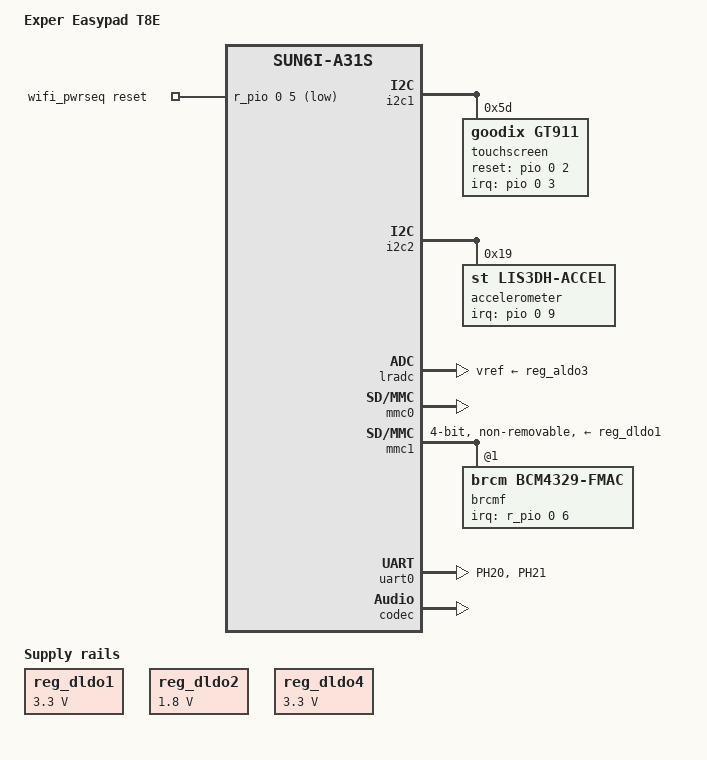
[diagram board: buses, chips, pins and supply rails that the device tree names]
// SPDX-License-Identifier: GPL-2.0+ OR X11
/*
 * Copyright 2026 mechres
 * Device Tree for Exper Easypad 8 (Model T8E)
 * Allwinner A31s quad-core tablet
 */

/dts-v1/;
#include "sun6i-a31s.dtsi"
#include "sun6i-reference-design-tablet.dtsi"

/ {
	model = "Exper Easypad T8E";
	compatible = "exper,easypad-t8e", "allwinner,sun6i-a31s";

	aliases {
		mmc0 = &mmc0;
		mmc1 = &mmc1;
	};

	wifi_pwrseq: pwrseq {
		compatible = "mmc-pwrseq-simple";
		/* Allwinner A31s GPL bank base is 181: FEX gpio 186 = 186 - 181 = PL5 */
		reset-gpios = <&r_pio 0 5 GPIO_ACTIVE_LOW>;
		clocks = <&rtc 1>; /* CLK_OSC32K_FANOUT */
		clock-names = "ext_clock";
		post-power-on-delay-ms = <200>;
	};
};

/* PH21 (UART0 RX) is floating — adapter only has RX<->TX
 * and GND connected; crosstalk from TX signal generates ghost DR bit.
 * Adding pull-up to RX pin. */
&pio {
	uart0_ph_pins_pu: uart0-ph-pins-pu {
		pins = "PH20", "PH21";
		function = "uart0";
		bias-pull-up;
	};
};

/* Prevent cpufreq-dt from binding and crashing with nosmp */
&cpu0 {
	/delete-property/ cpu-supply;
	/delete-property/ operating-points;
};

/* AXP221 PMIC is connected via P2WI at 0x68 with NMI interrupt. */
&battery_power_supply {
	status = "okay";
};

&usb_power_supply {
	status = "okay";
};

&ac_power_supply {
	status = "okay";
};

&i2c1 {
	status = "okay";

	touchscreen@5d {
		compatible = "goodix,gt911";
		reg = <0x5d>;
		interrupt-parent = <&pio>;
		interrupts = <0 3 IRQ_TYPE_LEVEL_HIGH>; /* PA3 */
		reset-gpios = <&pio 0 2 GPIO_ACTIVE_HIGH>; /* PA2 */
		touchscreen-swapped-x-y;
	};
};

&i2c2 {
	status = "okay";

	accelerometer@19 {
		compatible = "st,lis3dh-accel";
		reg = <0x19>;
		interrupt-parent = <&pio>;
		interrupts = <0 9 IRQ_TYPE_EDGE_RISING>; /* PA9 */
	};
};

&lradc {
	vref-supply = <&reg_aldo3>;
	status = "okay";

	button-1000 {
		label = "Home";
		linux,code = <KEY_HOMEPAGE>;
		channel = <0>;
		voltage = <1000000>;
	};
};

/* MicroSD slot (MMC0) on PF0-PF5 */
&mmc0 {
	/delete-property/ vmmc-supply;
	/delete-property/ cd-gpios;
	broken-cd;
	status = "okay";
};

/* SDIO WiFi (MMC1) on PG0-PG5 */
&mmc1 {
	vmmc-supply = <&reg_dldo1>;
	mmc-pwrseq = <&wifi_pwrseq>;
	bus-width = <4>;
	non-removable;
	status = "okay";

	brcmf: wifi@1 {
		reg = <1>;
		compatible = "brcm,bcm4329-fmac";
		interrupt-parent = <&r_pio>;
		/* FEX gpio 187 = 187 - 181 = PL6 */
		interrupts = <0 6 IRQ_TYPE_LEVEL_LOW>;
		interrupt-names = "host-wake";
	};
};

&reg_dldo1 {
	regulator-min-microvolt = <3300000>;
	regulator-max-microvolt = <3300000>;
	regulator-name = "vcc-wifi";
	regulator-always-on;
};

&reg_dldo2 {
	regulator-min-microvolt = <1800000>;
	regulator-max-microvolt = <1800000>;
	regulator-name = "vcc-pg";
	regulator-always-on;
};

&reg_dldo4 {
	regulator-min-microvolt = <3300000>;
	regulator-max-microvolt = <3300000>;
	regulator-name = "vcc-wifi-clk";
	regulator-always-on;
};

&reg_dc1sw {
	regulator-always-on;
};

&usbphy {
	/delete-property/ usb0_vbus_power-supply;
	/delete-property/ usb0_vbus-supply;
	/delete-property/ usb1_vbus-supply;
};

/delete-node/ &simplefb_hdmi;

&simplefb_lcd {
	/delete-property/ vcc-lcd-supply;
	/delete-property/ vcc-pg-supply;
};

&uart0 {
	pinctrl-names = "default";
	pinctrl-0 = <&uart0_ph_pins_pu>;
	status = "okay";
};

&r_pio {
	clko_pm7_pin: clko-pm7-pin {
		pins = "PM7";
		function = "rtc";
	};
};

&rtc {
	pinctrl-names = "default";
	pinctrl-0 = <&clko_pm7_pin>;
};

&codec {
	allwinner,audio-routing =
		"Headphone", "HP",
		"Speaker", "LINEOUT",
		"MIC1", "Mic",
		"MIC2", "Headset Mic",
		"Mic", "MBIAS",
		"Headset Mic", "HBIAS";
	allwinner,pa-gpios = <&r_pio 0 4 GPIO_ACTIVE_HIGH>; /* PL4 */
	status = "okay";
};
